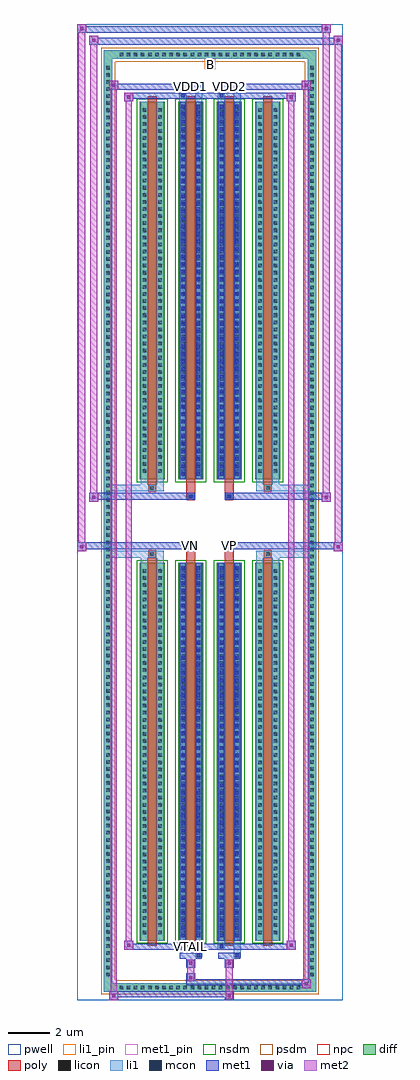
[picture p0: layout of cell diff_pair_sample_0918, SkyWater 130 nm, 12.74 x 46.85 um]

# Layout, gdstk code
import gdstk
lib = gdstk.Library(unit=1e-6, precision=5e-09)
def R(c, l, rs):  # rectangles x0, y0, x1, y1
    for r in rs: c.add(gdstk.rectangle(r[:2], r[2:], *l))
def A(c, l, x, y, w, h, nx, ny, dx, dy):  # array of equal rectangles
    R(c, l, [(x+i*dx, y+j*dy, x+i*dx+w, y+j*dy+h) for i in range(nx) for j in range(ny)])
def P(c, l, *ps):  # polygons
    for p in ps: c.add(gdstk.Polygon(p, *l))
pwell = (64, 44)
diff = (65, 20)
poly = (66, 20)
licon = (66, 44)
li1_pin = (67, 16)
li1 = (67, 20)
mcon = (67, 44)
met1_pin = (68, 16)
met1 = (68, 20)
via = (68, 44)
met2 = (69, 20)
nsdm = (93, 44)
psdm = (94, 20)
npc = (95, 20)

diff_pair_sample_0918 = lib.new_cell('diff_pair_sample_0918')
R(diff_pair_sample_0918, pwell, [(-6.37,-22.99,6.37,23.86), (-3.69,-21.18,-0.01,-0.82), (0.01,-21.18,3.69,-0.82), (-3.69,0.82,-0.01,21.18), (0.01,0.82,3.69,21.18)])
A(diff_pair_sample_0918, diff, -4.455, -22.59, 0.41, 0.41, 26, 2, 0.34, 44.77)
A(diff_pair_sample_0918, diff, -5.1, -21.965, 0.41, 0.41, 1, 129, 0, 0.34)
A(diff_pair_sample_0918, diff, 4.69, -21.965, 0.41, 0.41, 1, 129, 0, 0.34)
A(diff_pair_sample_0918, diff, -3.38, -20.135, 1.21, 18.13, 4, 2, 1.85, 22.14)
R(diff_pair_sample_0918, diff, [(-4.455,-22.59,4.455,-22.18), (-5.1,-21.965,-4.69,21.965), (4.69,-21.965,5.1,21.965), (-4.455,22.18,4.455,22.59)])
P(diff_pair_sample_0918, diff, [(5.1,22.59),(-5.1,22.59),(-5.1,-22.18),(-4.69,-22.18),(-4.69,22.18),(4.69,22.18),(4.69,-22.18),(-4.69,-22.18),(-5.1,-22.18),(-5.1,-22.59),(5.1,-22.59)])
A(diff_pair_sample_0918, poly, -2.99, -20.385, 0.43, 18.63, 4, 2, 1.85, 22.14)
R(diff_pair_sample_0918, poly, [(-2.94,-1.755,-2.61,-1.425), (-2.94,-1.755,-2.61,-1.425), (-1.14,-1.755,-0.71,-1.35), (0.71,-1.755,1.14,-1.35), (2.61,-1.755,2.94,-1.425), (2.61,-1.755,2.94,-1.425), (-1.14,-1.35,-0.71,-1.02), (-1.09,-1.35,-0.76,-1.02), (0.71,-1.35,1.14,-1.02), (0.76,-1.35,1.09,-1.02), (-1.14,1.02,-0.71,1.35), (-1.09,1.02,-0.76,1.35), (0.71,1.02,1.14,1.35), (0.76,1.02,1.09,1.35), (-1.14,1.35,-0.71,1.755), (0.71,1.35,1.14,1.755), (-2.94,1.425,-2.61,1.755), (-2.94,1.425,-2.61,1.755), (2.61,1.425,2.94,1.755), (2.61,1.425,2.94,1.755)])
A(diff_pair_sample_0918, licon, -4.335, -22.47, 0.17, 0.17, 26, 2, 0.34, 44.77)
A(diff_pair_sample_0918, licon, -4.98, -21.845, 0.17, 0.17, 1, 129, 0, 0.34)
A(diff_pair_sample_0918, licon, 4.81, -21.845, 0.17, 0.17, 1, 129, 0, 0.34)
A(diff_pair_sample_0918, licon, -3.24, -19.825, 0.17, 0.17, 1, 52, 0, 0.34)
A(diff_pair_sample_0918, licon, -2.48, -19.825, 0.17, 0.17, 1, 52, 0, 0.34)
A(diff_pair_sample_0918, licon, -1.39, -19.825, 0.17, 0.17, 1, 52, 0, 0.34)
A(diff_pair_sample_0918, licon, -0.63, -19.825, 0.17, 0.17, 1, 52, 0, 0.34)
A(diff_pair_sample_0918, licon, 0.46, -19.825, 0.17, 0.17, 1, 52, 0, 0.34)
A(diff_pair_sample_0918, licon, 1.22, -19.825, 0.17, 0.17, 1, 52, 0, 0.34)
A(diff_pair_sample_0918, licon, 2.31, -19.825, 0.17, 0.17, 1, 52, 0, 0.34)
A(diff_pair_sample_0918, licon, 3.07, -19.825, 0.17, 0.17, 1, 52, 0, 0.34)
A(diff_pair_sample_0918, licon, -3.24, 2.315, 0.17, 0.17, 1, 52, 0, 0.34)
A(diff_pair_sample_0918, licon, -2.48, 2.315, 0.17, 0.17, 1, 52, 0, 0.34)
A(diff_pair_sample_0918, licon, -1.39, 2.315, 0.17, 0.17, 1, 52, 0, 0.34)
A(diff_pair_sample_0918, licon, -0.63, 2.315, 0.17, 0.17, 1, 52, 0, 0.34)
A(diff_pair_sample_0918, licon, 0.46, 2.315, 0.17, 0.17, 1, 52, 0, 0.34)
A(diff_pair_sample_0918, licon, 1.22, 2.315, 0.17, 0.17, 1, 52, 0, 0.34)
A(diff_pair_sample_0918, licon, 2.31, 2.315, 0.17, 0.17, 1, 52, 0, 0.34)
A(diff_pair_sample_0918, licon, 3.07, 2.315, 0.17, 0.17, 1, 52, 0, 0.34)
R(diff_pair_sample_0918, licon, [(-2.86,-1.675,-2.69,-1.505), (2.69,-1.675,2.86,-1.505), (-1.01,-1.27,-0.84,-1.1), (0.84,-1.27,1.01,-1.1), (-1.01,1.1,-0.84,1.27), (0.84,1.1,1.01,1.27), (-2.86,1.505,-2.69,1.675), (2.69,1.505,2.86,1.675)])
R(diff_pair_sample_0918, li1_pin, [(-0.25,21.68,0.25,22.18)])
A(diff_pair_sample_0918, li1, -4.415, -22.55, 0.33, 0.33, 26, 2, 0.34, 44.77)
A(diff_pair_sample_0918, li1, -5.06, -21.925, 0.33, 0.33, 1, 129, 0, 0.34)
A(diff_pair_sample_0918, li1, 4.73, -21.925, 0.33, 0.33, 1, 129, 0, 0.34)
A(diff_pair_sample_0918, li1, -1.39, -19.975, 0.17, 0.17, 1, 50, 0, 0.36)
A(diff_pair_sample_0918, li1, -0.63, -19.975, 0.17, 0.17, 1, 50, 0, 0.36)
A(diff_pair_sample_0918, li1, 0.46, -19.975, 0.17, 0.17, 1, 50, 0, 0.36)
A(diff_pair_sample_0918, li1, 1.22, -19.975, 0.17, 0.17, 1, 50, 0, 0.36)
A(diff_pair_sample_0918, li1, -3.32, -19.905, 0.33, 0.33, 1, 52, 0, 0.34)
A(diff_pair_sample_0918, li1, -2.56, -19.905, 0.33, 0.33, 1, 52, 0, 0.34)
A(diff_pair_sample_0918, li1, -1.47, -19.905, 0.33, 0.33, 1, 52, 0, 0.34)
A(diff_pair_sample_0918, li1, -0.71, -19.905, 0.33, 0.33, 1, 52, 0, 0.34)
A(diff_pair_sample_0918, li1, 0.38, -19.905, 0.33, 0.33, 1, 52, 0, 0.34)
A(diff_pair_sample_0918, li1, 1.14, -19.905, 0.33, 0.33, 1, 52, 0, 0.34)
A(diff_pair_sample_0918, li1, 2.23, -19.905, 0.33, 0.33, 1, 52, 0, 0.34)
A(diff_pair_sample_0918, li1, 2.99, -19.905, 0.33, 0.33, 1, 52, 0, 0.34)
A(diff_pair_sample_0918, li1, -1.39, 2.165, 0.17, 0.17, 1, 50, 0, 0.36)
A(diff_pair_sample_0918, li1, -0.63, 2.165, 0.17, 0.17, 1, 50, 0, 0.36)
A(diff_pair_sample_0918, li1, 0.46, 2.165, 0.17, 0.17, 1, 50, 0, 0.36)
A(diff_pair_sample_0918, li1, 1.22, 2.165, 0.17, 0.17, 1, 50, 0, 0.36)
A(diff_pair_sample_0918, li1, -3.32, 2.235, 0.33, 0.33, 1, 52, 0, 0.34)
A(diff_pair_sample_0918, li1, -2.56, 2.235, 0.33, 0.33, 1, 52, 0, 0.34)
A(diff_pair_sample_0918, li1, -1.47, 2.235, 0.33, 0.33, 1, 52, 0, 0.34)
A(diff_pair_sample_0918, li1, -0.71, 2.235, 0.33, 0.33, 1, 52, 0, 0.34)
A(diff_pair_sample_0918, li1, 0.38, 2.235, 0.33, 0.33, 1, 52, 0, 0.34)
A(diff_pair_sample_0918, li1, 1.14, 2.235, 0.33, 0.33, 1, 52, 0, 0.34)
A(diff_pair_sample_0918, li1, 2.23, 2.235, 0.33, 0.33, 1, 52, 0, 0.34)
A(diff_pair_sample_0918, li1, 2.99, 2.235, 0.33, 0.33, 1, 52, 0, 0.34)
R(diff_pair_sample_0918, li1, [(-5.1,-22.59,-4.69,-22.18), (-5.1,-22.59,-4.69,-22.18), (-4.69,-22.59,4.69,-22.18), (4.69,-22.59,5.1,-22.18), (4.69,-22.59,5.1,-22.18), (-5.1,-22.18,-4.69,22.18), (4.69,-22.18,5.1,22.18), (-0.71,-20.94,-0.38,-20.135), (-0.63,-20.94,-0.46,-20.77), (1.14,-20.94,1.47,-20.135), (1.22,-20.94,1.39,-20.77), (-1.47,-20.51,-1.14,-20.135), (-1.39,-20.51,-1.22,-20.34), (0.38,-20.51,0.71,-20.135), (0.46,-20.51,0.63,-20.34), (-3.32,-20.135,-2.99,-2.005), (-2.56,-20.135,-2.23,-2.005), (-1.47,-20.135,-1.14,-2.005), (-0.71,-20.135,-0.38,-2.005), (0.38,-20.135,0.71,-2.005), (1.14,-20.135,1.47,-2.005), (2.23,-20.135,2.56,-2.005), (2.99,-20.135,3.32,-2.005), (-1.39,-19.975,-1.22,-2.165), (-0.63,-19.975,-0.46,-2.165), (0.46,-19.975,0.63,-2.165), (1.22,-19.975,1.39,-2.165), (-3.32,-2.005,-2.99,-1.425), (-2.56,-2.005,-2.23,-1.425), (2.23,-2.005,2.56,-1.425), (2.99,-2.005,3.32,-1.425), (-5.1,-1.755,-2.94,-1.425), (-3.32,-1.755,-2.94,-1.425), (-2.94,-1.755,-2.61,-1.425), (-2.61,-1.755,-2.23,-1.425), (2.23,-1.755,2.61,-1.425), (2.61,-1.755,2.94,-1.425), (2.61,-1.755,5.1,-1.425), (2.94,-1.755,3.32,-1.425), (-1.09,-1.35,-0.76,-1.02), (0.76,-1.35,1.09,-1.02), (-1.09,1.02,-0.76,1.35), (0.76,1.02,1.09,1.35), (-5.1,1.425,-2.94,1.755), (-3.32,1.425,-2.94,1.755), (-3.32,1.425,-2.99,2.005), (-2.94,1.425,-2.61,1.755), (-2.61,1.425,-2.23,1.755), (-2.56,1.425,-2.23,2.005), (2.23,1.425,2.61,1.755), (2.23,1.425,2.56,2.005), (2.61,1.425,2.94,1.755), (2.61,1.425,5.1,1.755), (2.94,1.425,3.32,1.755), (2.99,1.425,3.32,2.005), (-3.32,2.005,-2.99,20.135), (-2.56,2.005,-2.23,20.135), (-1.47,2.005,-1.14,20.135), (-0.71,2.005,-0.38,20.135), (0.38,2.005,0.71,20.135), (1.14,2.005,1.47,20.135), (2.23,2.005,2.56,20.135), (2.99,2.005,3.32,20.135), (-1.39,2.165,-1.22,19.975), (-0.63,2.165,-0.46,19.975), (0.46,2.165,0.63,19.975), (1.22,2.165,1.39,19.975), (-1.47,20.135,-1.14,20.51), (-0.71,20.135,-0.38,20.94), (0.38,20.135,0.71,20.51), (1.14,20.135,1.47,20.94), (-1.39,20.34,-1.22,20.51), (0.46,20.34,0.63,20.51), (-0.63,20.77,-0.46,20.94), (1.22,20.77,1.39,20.94), (-5.1,22.18,-4.69,22.59), (-5.1,22.18,-4.69,22.59), (-4.69,22.18,4.69,22.59), (4.69,22.18,5.1,22.59), (4.69,22.18,5.1,22.59)])
A(diff_pair_sample_0918, mcon, -1.39, -19.975, 0.17, 0.17, 1, 50, 0, 0.36)
A(diff_pair_sample_0918, mcon, -0.63, -19.975, 0.17, 0.17, 1, 50, 0, 0.36)
A(diff_pair_sample_0918, mcon, 0.46, -19.975, 0.17, 0.17, 1, 50, 0, 0.36)
A(diff_pair_sample_0918, mcon, 1.22, -19.975, 0.17, 0.17, 1, 50, 0, 0.36)
A(diff_pair_sample_0918, mcon, -1.39, 2.165, 0.17, 0.17, 1, 50, 0, 0.36)
A(diff_pair_sample_0918, mcon, -0.63, 2.165, 0.17, 0.17, 1, 50, 0, 0.36)
A(diff_pair_sample_0918, mcon, 0.46, 2.165, 0.17, 0.17, 1, 50, 0, 0.36)
A(diff_pair_sample_0918, mcon, 1.22, 2.165, 0.17, 0.17, 1, 50, 0, 0.36)
R(diff_pair_sample_0918, mcon, [(-0.63,-20.94,-0.46,-20.77), (1.22,-20.94,1.39,-20.77), (-1.39,-20.51,-1.22,-20.34), (0.46,-20.51,0.63,-20.34), (-1.01,-1.27,-0.84,-1.1), (0.84,-1.27,1.01,-1.1), (-1.01,1.1,-0.84,1.27), (0.84,1.1,1.01,1.27), (-1.39,20.34,-1.22,20.51), (0.46,20.34,0.63,20.51), (-0.63,20.77,-0.46,20.94), (1.22,20.77,1.39,20.94)])
R(diff_pair_sample_0918, met1_pin, [(-1.06,-20.55,-0.79,-20.28), (-1.06,-1.29,-0.79,-1.02), (0.79,-1.29,1.06,-1.02), (-1.06,20.73,-0.79,21), (0.79,20.73,1.06,21)])
A(diff_pair_sample_0918, met1, -1.45, -20.035, 0.29, 0.29, 1, 50, 0, 0.36)
A(diff_pair_sample_0918, met1, -0.69, -20.035, 0.29, 0.29, 1, 50, 0, 0.36)
A(diff_pair_sample_0918, met1, 0.4, -20.035, 0.29, 0.29, 1, 50, 0, 0.36)
A(diff_pair_sample_0918, met1, 1.16, -20.035, 0.29, 0.29, 1, 50, 0, 0.36)
A(diff_pair_sample_0918, met1, -1.45, 2.105, 0.29, 0.29, 1, 50, 0, 0.36)
A(diff_pair_sample_0918, met1, -0.69, 2.105, 0.29, 0.29, 1, 50, 0, 0.36)
A(diff_pair_sample_0918, met1, 0.4, 2.105, 0.29, 0.29, 1, 50, 0, 0.36)
A(diff_pair_sample_0918, met1, 1.16, 2.105, 0.29, 0.29, 1, 50, 0, 0.36)
R(diff_pair_sample_0918, met1, [(-4.83,-22.99,-4.4,-22.56), (0.71,-22.99,1.14,-22.56), (-4.83,-22.85,1.14,-22.56), (4.4,-22.42,4.83,-21.99), (-1.14,-22.28,4.83,-21.99), (-1.14,-22.14,-0.71,-21.71), (-1.14,-21.43,-0.71,-21), (0.71,-21.43,1.14,-21), (-1.45,-21,-0.4,-20.71), (-0.69,-21,-0.4,-20.71), (0.4,-21,1.45,-20.71), (1.16,-21,1.45,-20.71), (-4.12,-20.57,-3.69,-20.14), (-4.12,-20.57,-1.45,-20.28), (-1.45,-20.57,-1.16,-20.28), (-1.45,-20.57,-0.4,-20.28), (-0.4,-20.57,0.4,-20.28), (0.4,-20.57,0.69,-20.28), (0.4,-20.57,1.45,-20.28), (1.45,-20.57,4.12,-20.28), (3.69,-20.57,4.12,-20.14), (-1.45,-20.135,-1.16,-2.005), (-0.69,-20.135,-0.4,-2.005), (0.4,-20.135,0.69,-2.005), (1.16,-20.135,1.45,-2.005), (-6.37,-1.45,-5.94,-1.02), (5.94,-1.45,6.37,-1.02), (-6.37,-1.35,-0.71,-1.02), (-1.14,-1.35,-0.71,-1.02), (0.71,-1.35,1.14,-1.02), (0.71,-1.35,6.37,-1.02), (-1.07,-1.33,-0.78,-1.04), (0.78,-1.33,1.07,-1.04), (-5.8,0.92,-5.37,1.35), (5.37,0.92,5.8,1.35), (-5.8,1.02,-1.14,1.35), (-1.14,1.02,-0.71,1.35), (0.71,1.02,1.14,1.35), (1.14,1.02,5.8,1.35), (-1.07,1.04,-0.78,1.33), (0.78,1.04,1.07,1.33), (-1.45,2.005,-1.16,20.135), (-0.69,2.005,-0.4,20.135), (0.4,2.005,0.69,20.135), (1.16,2.005,1.45,20.135), (-4.12,20.14,-3.69,20.57), (3.69,20.14,4.12,20.57), (-4.12,20.28,-1.45,20.57), (-1.45,20.28,-1.16,20.57), (-1.45,20.28,-0.4,20.57), (-0.4,20.28,0.4,20.57), (0.4,20.28,0.69,20.57), (0.4,20.28,1.45,20.57), (1.45,20.28,4.12,20.57), (-4.83,20.71,-4.4,21.14), (-4.83,20.71,-1.45,21), (-1.45,20.71,-0.4,21), (-0.69,20.71,-0.4,21), (0.4,20.71,1.45,21), (1.16,20.71,1.45,21), (1.45,20.71,4.83,21), (4.4,20.71,4.83,21.14), (-5.8,22.86,-5.37,23.29), (-5.8,22.86,-3.69,23.19), (-3.69,22.86,3.69,23.19), (3.69,22.86,6.37,23.19), (5.94,22.86,6.37,23.29), (-6.37,23.43,-5.94,23.86), (-6.37,23.43,-3.69,23.76), (-3.69,23.43,3.69,23.76), (3.69,23.43,5.8,23.76), (5.37,23.43,5.8,23.86)])
R(diff_pair_sample_0918, via, [(-4.69,-22.85,-4.54,-22.7), (0.85,-22.85,1,-22.7), (4.54,-22.28,4.69,-22.13), (-1,-22,-0.85,-21.85), (-1,-21.29,-0.85,-21.14), (0.85,-21.29,1,-21.14), (-3.98,-20.43,-3.83,-20.28), (3.83,-20.43,3.98,-20.28), (-6.23,-1.31,-6.08,-1.16), (6.08,-1.31,6.23,-1.16), (-5.66,1.06,-5.51,1.21), (5.51,1.06,5.66,1.21), (-3.98,20.28,-3.83,20.43), (3.83,20.28,3.98,20.43), (-4.69,20.85,-4.54,21), (4.54,20.85,4.69,21), (-5.66,23,-5.51,23.15), (6.08,23,6.23,23.15), (-6.23,23.57,-6.08,23.72), (5.51,23.57,5.66,23.72)])
R(diff_pair_sample_0918, met2, [(-4.83,-22.99,-4.4,-22.56), (-4.76,-22.99,-4.47,21.14), (-4.47,-22.99,-4.4,-22.56), (-4.78,-22.94,-4.45,-22.61), (0.76,-22.94,1.09,-22.61), (0.76,-22.61,1.09,-21.38), (4.4,-22.42,4.83,-21.99), (4.47,-22.42,4.76,21.14), (4.76,-22.42,4.83,-21.99), (4.45,-22.37,4.78,-22.04), (-1.09,-22.09,-0.76,-21.76), (-1.09,-21.76,-0.76,-21.38), (-1.09,-21.38,-0.76,-21.05), (0.76,-21.38,1.09,-21.05), (-4.12,-20.57,-3.69,-20.14), (-4.05,-20.57,-3.76,20.57), (-3.76,-20.57,-3.69,-20.14), (3.69,-20.57,4.12,-20.14), (3.76,-20.57,4.05,20.57), (4.05,-20.57,4.12,-20.14), (-4.07,-20.52,-3.74,-20.19), (3.74,-20.52,4.07,-20.19), (-6.37,-1.45,-5.94,-1.02), (-6.32,-1.45,-5.99,23.86), (-5.99,-1.45,-5.94,-1.02), (5.94,-1.45,6.37,-1.02), (5.99,-1.45,6.32,23.29), (6.32,-1.45,6.37,-1.02), (-6.32,-1.4,-5.99,-1.07), (5.99,-1.4,6.32,-1.07), (-5.8,0.92,-5.37,1.35), (-5.75,0.92,-5.42,23.29), (-5.42,0.92,-5.37,1.35), (5.37,0.92,5.8,1.35), (5.42,0.92,5.75,23.86), (5.75,0.92,5.8,1.35), (-5.75,0.97,-5.42,1.3), (5.42,0.97,5.75,1.3), (-4.12,20.14,-3.69,20.57), (-3.76,20.14,-3.69,20.57), (3.69,20.14,4.12,20.57), (4.05,20.14,4.12,20.57), (-4.07,20.19,-3.74,20.52), (3.74,20.19,4.07,20.52), (-4.83,20.71,-4.4,21.14), (-4.47,20.71,-4.4,21.14), (4.4,20.71,4.83,21.14), (4.76,20.71,4.83,21.14), (-4.78,20.76,-4.45,21.09), (4.45,20.76,4.78,21.09), (-5.8,22.86,-5.37,23.29), (-5.42,22.86,-5.37,23.29), (5.94,22.86,6.37,23.29), (6.32,22.86,6.37,23.29), (-5.75,22.91,-5.42,23.24), (5.99,22.91,6.32,23.24), (-6.37,23.43,-5.94,23.86), (-5.99,23.43,-5.94,23.86), (5.37,23.43,5.8,23.86), (5.75,23.43,5.8,23.86), (-6.32,23.48,-5.99,23.81), (5.42,23.48,5.75,23.81)])
A(diff_pair_sample_0918, nsdm, -3.51, -20.265, 1.47, 18.39, 4, 2, 1.85, 22.14)
P(diff_pair_sample_0918, psdm, [(5.23,22.72),(-5.23,22.72),(-5.23,-22.05),(-4.56,-22.05),(-4.56,22.05),(4.56,22.05),(4.56,-22.05),(-4.56,-22.05),(-5.23,-22.05),(-5.23,-22.72),(5.23,-22.72)])
R(diff_pair_sample_0918, npc, [(-2.96,-1.775,-2.59,-1.405), (2.59,-1.775,2.96,-1.405), (-1.11,-1.37,-0.74,-1), (0.74,-1.37,1.11,-1), (-1.11,1,-0.74,1.37), (0.74,1,1.11,1.37), (-2.96,1.405,-2.59,1.775), (2.59,1.405,2.96,1.775)])
diff_pair_sample_0918.add(gdstk.Label('VTAIL', (-0.925,-20.415), layer=68, texttype=5))
diff_pair_sample_0918.add(gdstk.Label('VN', (-0.925,-1.155), layer=68, texttype=5))
diff_pair_sample_0918.add(gdstk.Label('VP', (0.925,-1.155), layer=68, texttype=5))
diff_pair_sample_0918.add(gdstk.Label('B', (0,21.93), layer=67, texttype=5))
diff_pair_sample_0918.add(gdstk.Label('VDD2', (0.925,20.865), layer=68, texttype=5))
diff_pair_sample_0918.add(gdstk.Label('VDD1', (-0.925,20.865), layer=68, texttype=5))

lib.write_gds('diff_pair_sample_0918.gds')
